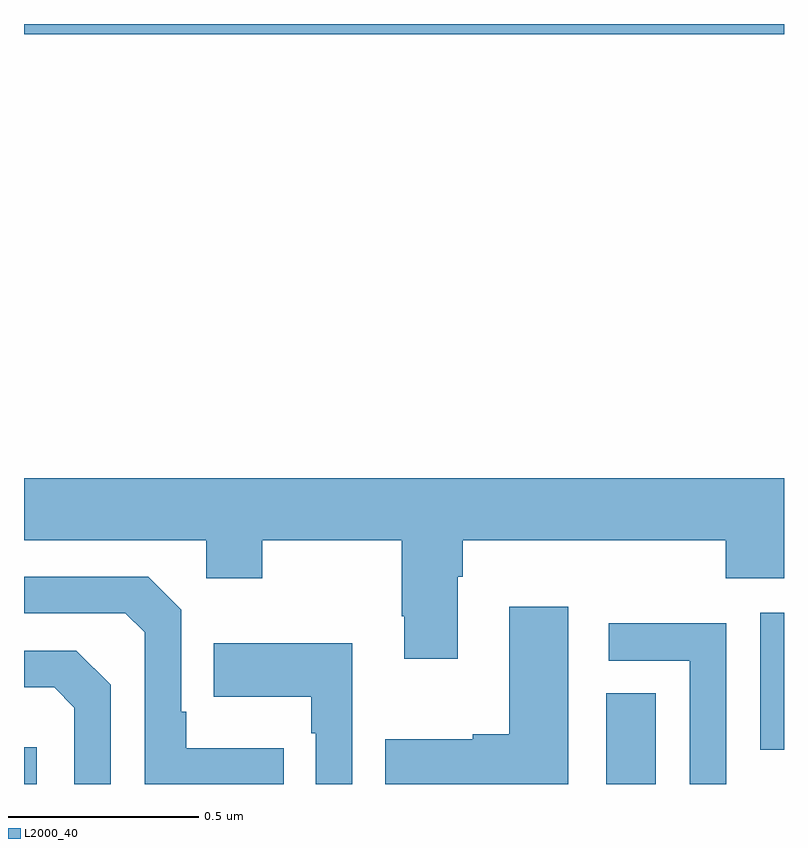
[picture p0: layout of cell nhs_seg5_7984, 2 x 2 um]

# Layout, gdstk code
import gdstk
lib = gdstk.Library(unit=1e-6, precision=1e-09)
def R(c, l, rs):  # rectangles x0, y0, x1, y1
    for r in rs: c.add(gdstk.rectangle(r[:2], r[2:], *l))
def P(c, l, *ps):  # polygons
    for p in ps: c.add(gdstk.Polygon(p, *l))
L2000_40 = (2000, 40)

nhs_seg5_7984 = lib.new_cell('nhs_seg5_7984')
R(nhs_seg5_7984, L2000_40, [(216,842.799,216.034,842.896), (217.532,842.799,217.663,843.038), (217.937,842.889,218,843.25), (216,844.772,218,844.799)])
P(nhs_seg5_7984, L2000_40, [(217.141,843.344),(217.154,843.344),(217.154,843.44),(217.847,843.44),(217.847,843.341),(218,843.341),(218,843.604),(216,843.604),(216,843.44),(216.48,843.44),(216.48,843.341),(216.627,843.341),(216.627,843.44),(216.994,843.44),(216.994,843.241),(217.001,843.241),(217.001,843.129),(217.141,843.129)],
  [(216.683,842.893),(216.427,842.893),(216.427,842.989),(216.414,842.989),(216.414,843.258),(216.327,843.345),(216,843.345),(216,843.249),(216.267,843.249),(216.318,843.198),(216.318,842.799),(216.683,842.799)],
  [(217.432,843.265),(217.277,843.265),(217.277,842.93),(217.181,842.93),(217.181,842.917),(216.951,842.917),(216.951,842.799),(217.432,842.799)],
  [(217.848,843.222),(217.539,843.222),(217.539,843.123),(217.752,843.123),(217.752,842.799),(217.848,842.799)],
  [(216.864,843.169),(216.499,843.169),(216.499,843.029),(216.756,843.029),(216.756,842.933),(216.768,842.933),(216.768,842.799),(216.864,842.799)],
  [(216.228,843.06),(216.138,843.15),(216,843.15),(216,843.053),(216.079,843.053),(216.132,843),(216.132,842.799),(216.228,842.799)])

lib.write_gds('nhs_seg5_7984.gds')
